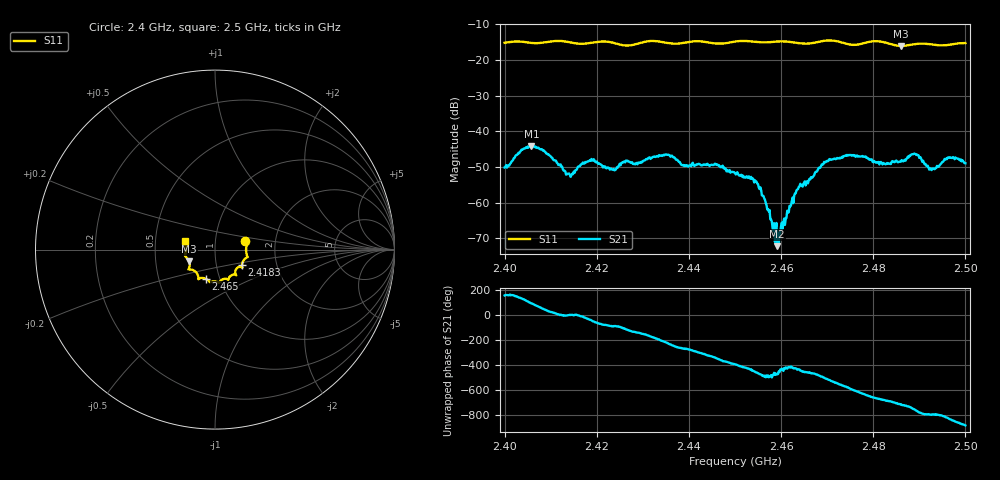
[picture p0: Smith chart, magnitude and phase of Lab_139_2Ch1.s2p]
# Hz S RI R 50
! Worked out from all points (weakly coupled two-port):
!   601 points, 2.4 GHz to 2.5 GHz, reference 50 ohm
!   highest |S21| = -44.09 dB at 2.4058 GHz (marker M1); lowest = -72.2 dB at 2.4592 GHz (marker M2)
!   lowest |S11| = -16.0 dB at 2.486 GHz (marker M3), VSWR 1.38, Z = 37.1 - j4.97 ohm
!   |S11| at or under -10 dB: start of sweep to end of sweep
!   S12 and S22 are empty: the file has one direction only
!   S11 on the Smith chart (normalised r, x): 2.4 GHz: 1.40, +0.13; 2.4183 GHz: 1.33, -0.24; 2.465 GHz: 0.86, -0.29; 2.5 GHz: 0.71, +0.07
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2.4e9  0.1688 0.0458  -0.00287 0.00124  0 0  0 0
2.405833e9  0.1739 0.0106  -0.000352 0.00623  0 0  0 0
2.4085e9  0.1755 -0.022  0.00374 0.00394  0 0  0 0
2.413833e9  0.1736 -0.0463  0.00256 -7.56e-05  0 0  0 0
2.416667e9  0.1552 -0.0682  0.00341 -0.00062  0 0  0 0
2.418333e9  0.15 -0.0869  0.00316 -0.00222  0 0  0 0
2.423667e9  0.1449 -0.097  7.5e-05 -0.00298  0 0  0 0
2.433333e9  0.1165 -0.1412  -0.00427 0.00116  0 0  0 0
2.45e9  0.0253 -0.1805  0.00213 -0.00153  0 0  0 0
2.455e9  0.00747 -0.179  -0.000552 -0.00174  0 0  0 0
2.459167e9  -0.0247 -0.181  -9.39e-05 -0.000228  0 0  0 0
2.463333e9  -0.0381 -0.1709  0.00051 -0.0014  0 0  0 0
2.465e9  -0.0526 -0.1621  -0.00025 -0.00191  0 0  0 0
2.466667e9  -0.0711 -0.1576  -0.000609 -0.00215  0 0  0 0
2.469833e9  -0.0918 -0.1642  -0.00337 -0.0018  0 0  0 0
2.474333e9  -0.0973 -0.1379  -0.00353 0.00291  0 0  0 0
2.483333e9  -0.1423 -0.096  0.00309 0.0018  0 0  0 0
2.486e9  -0.1439 -0.0653  0.00375 0.000368  0 0  0 0
2.488667e9  -0.161 -0.0423  0.00403 -0.0026  0 0  0 0
2.492667e9  -0.1648 -0.0223  0.000517 -0.00282  0 0  0 0
2.496333e9  -0.1626 0.0201  -0.00144 -0.00408  0 0  0 0
2.5e9  -0.1671 0.0474  -0.00345 -0.000913  0 0  0 0
